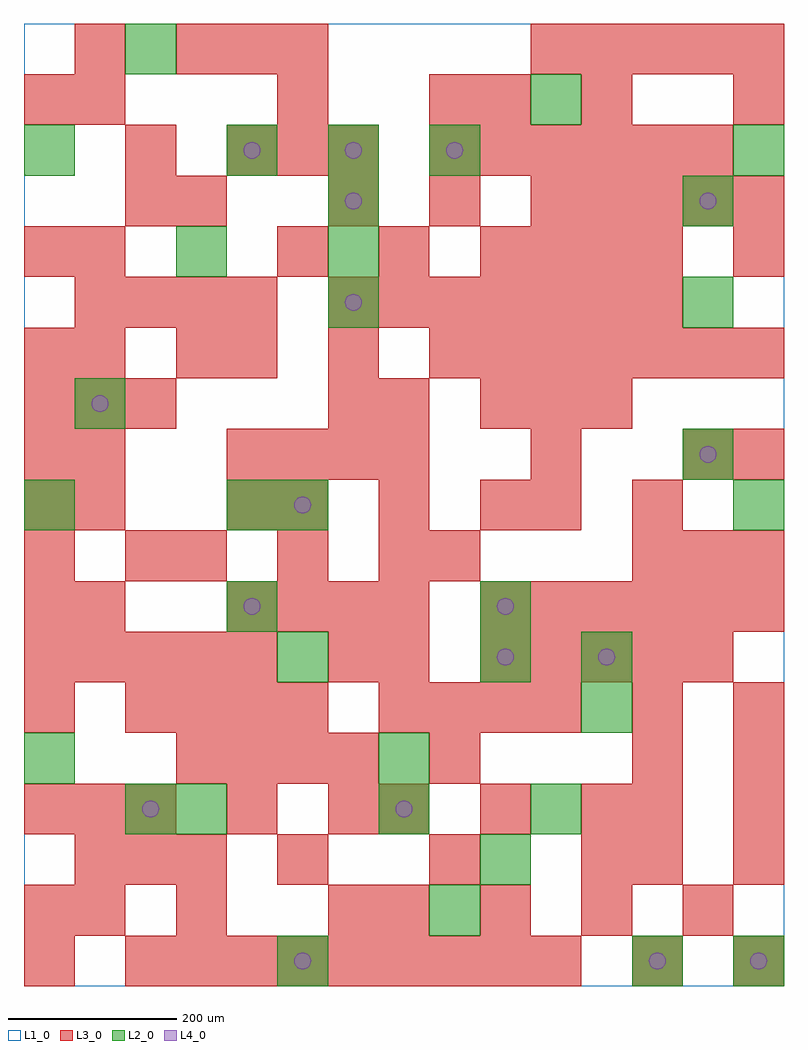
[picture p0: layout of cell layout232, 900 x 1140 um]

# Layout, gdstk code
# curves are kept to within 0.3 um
import gdstk
lib = gdstk.Library(unit=1e-6, precision=1e-09)
def R(c, l, rs):  # rectangles x0, y0, x1, y1
    for r in rs: c.add(gdstk.rectangle(r[:2], r[2:], *l))
def A(c, l, x, y, w, h, nx, ny, dx, dy):  # array of equal rectangles
    R(c, l, [(x+i*dx, y+j*dy, x+i*dx+w, y+j*dy+h) for i in range(nx) for j in range(ny)])
def P(c, l, *ps):  # polygons
    for p in ps: c.add(gdstk.Polygon(p, *l))
L1_0 = (1, 0)
L2_0 = (2, 0)
L3_0 = (3, 0)
L4_0 = (4, 0)

layout232 = lib.new_cell('layout232')
R(layout232, L1_0, [(0,0,900,1140)])
A(layout232, L2_0, 360, 780, 60, 60, 1, 3, 0, 60)
A(layout232, L2_0, 240, 960, 60, 60, 3, 1, 120, 0)
R(layout232, L2_0, [(300,0,360,60), (720,0,780,60), (840,0,900,60), (480,60,540,120), (540,120,600,180), (120,180,180,240), (180,180,240,240), (420,180,480,240), (600,180,660,240), (0,240,60,300), (420,240,480,300), (660,300,720,360), (300,360,360,420), (540,360,600,420), (660,360,720,420), (240,420,300,480), (540,420,600,480), (0,540,60,600), (240,540,300,600), (300,540,360,600), (840,540,900,600), (780,600,840,660), (60,660,120,720), (780,780,840,840), (180,840,240,900), (780,900,840,960), (0,960,60,1020), (840,960,900,1020), (600,1020,660,1080), (120,1080,180,1140)])
A(layout232, L3_0, 120, 0, 60, 60, 9, 1, 60, 0)
A(layout232, L3_0, 420, 60, 60, 60, 4, 1, 120, 0)
A(layout232, L3_0, 60, 120, 60, 60, 3, 1, 60, 0)
A(layout232, L3_0, 300, 120, 60, 60, 3, 1, 180, 0)
A(layout232, L3_0, 720, 120, 60, 60, 1, 4, 0, 60)
A(layout232, L3_0, 840, 120, 60, 60, 1, 4, 0, 60)
A(layout232, L3_0, 0, 180, 60, 60, 3, 2, 60, 480)
A(layout232, L3_0, 420, 180, 60, 60, 3, 1, 120, 0)
A(layout232, L3_0, 180, 240, 60, 60, 4, 1, 60, 0)
A(layout232, L3_0, 120, 300, 60, 60, 4, 1, 60, 0)
A(layout232, L3_0, 420, 300, 60, 60, 4, 1, 60, 0)
A(layout232, L3_0, 0, 360, 60, 60, 5, 1, 60, 0)
A(layout232, L3_0, 540, 360, 60, 60, 5, 1, 60, 0)
A(layout232, L3_0, 0, 420, 60, 60, 1, 4, 0, 60)
A(layout232, L3_0, 240, 420, 60, 60, 4, 2, 60, 180)
A(layout232, L3_0, 540, 420, 60, 60, 6, 2, 60, 300)
A(layout232, L3_0, 180, 480, 60, 60, 3, 1, 120, 0)
A(layout232, L3_0, 720, 480, 60, 60, 3, 1, 60, 0)
A(layout232, L3_0, 300, 540, 60, 60, 3, 2, 120, 300)
A(layout232, L3_0, 60, 600, 60, 60, 1, 3, 0, 120)
A(layout232, L3_0, 540, 660, 60, 60, 3, 1, 60, 0)
A(layout232, L3_0, 240, 720, 60, 60, 3, 1, 120, 0)
A(layout232, L3_0, 60, 780, 60, 60, 4, 1, 60, 0)
A(layout232, L3_0, 360, 780, 60, 60, 7, 1, 60, 0)
A(layout232, L3_0, 600, 840, 60, 60, 3, 1, 60, 0)
A(layout232, L3_0, 360, 900, 60, 60, 3, 1, 120, 0)
A(layout232, L3_0, 660, 900, 60, 60, 4, 1, 60, 0)
A(layout232, L3_0, 240, 960, 60, 60, 3, 1, 60, 0)
A(layout232, L3_0, 480, 960, 60, 60, 6, 1, 60, 0)
A(layout232, L3_0, 180, 1080, 60, 60, 3, 1, 60, 0)
A(layout232, L3_0, 600, 1080, 60, 60, 5, 1, 60, 0)
R(layout232, L3_0, [(0,0,60,60), (720,0,780,60), (840,0,900,60), (0,60,60,120), (60,60,120,120), (180,60,240,120), (360,60,420,120), (240,180,300,240), (360,180,420,240), (480,240,540,300), (0,300,60,360), (360,360,420,420), (420,360,480,420), (60,420,120,480), (120,480,180,540), (480,480,540,540), (60,540,120,600), (240,540,300,600), (600,540,660,600), (720,540,780,600), (600,600,660,660), (780,600,840,660), (840,600,900,660), (360,660,420,720), (420,660,480,720), (0,720,60,780), (180,720,240,780), (0,840,60,900), (840,840,900,900), (120,900,180,960), (180,900,240,960), (120,960,180,1020), (0,1020,60,1080), (60,1020,120,1080), (300,1020,360,1080), (480,1020,540,1080), (540,1020,600,1080), (660,1020,720,1080), (840,1020,900,1080), (60,1080,120,1140)])
P(layout232, L4_0, [(100,690),(99.239,693.827),(97.071,697.071),(93.827,699.239),(90,700),(86.173,699.239),(82.929,697.071),(80.761,693.827),(80,690),(80.761,686.173),(82.929,682.929),(86.173,680.761),(90,680),(93.827,680.761),(97.071,682.929),(99.239,686.173)],
  [(160,210),(159.239,213.827),(157.071,217.071),(153.827,219.239),(150,220),(146.173,219.239),(142.929,217.071),(140.761,213.827),(140,210),(140.761,206.173),(142.929,202.929),(146.173,200.761),(150,200),(153.827,200.761),(157.071,202.929),(159.239,206.173)],
  [(280,450),(279.239,453.827),(277.071,457.071),(273.827,459.239),(270,460),(266.173,459.239),(262.929,457.071),(260.761,453.827),(260,450),(260.761,446.173),(262.929,442.929),(266.173,440.761),(270,440),(273.827,440.761),(277.071,442.929),(279.239,446.173)],
  [(280,990),(279.239,993.827),(277.071,997.071),(273.827,999.239),(270,1000),(266.173,999.239),(262.929,997.071),(260.761,993.827),(260,990),(260.761,986.173),(262.929,982.929),(266.173,980.761),(270,980),(273.827,980.761),(277.071,982.929),(279.239,986.173)],
  [(340,30),(339.239,33.827),(337.071,37.071),(333.827,39.239),(330,40),(326.173,39.239),(322.929,37.071),(320.761,33.827),(320,30),(320.761,26.173),(322.929,22.929),(326.173,20.761),(330,20),(333.827,20.761),(337.071,22.929),(339.239,26.173)],
  [(340,570),(339.239,573.827),(337.071,577.071),(333.827,579.239),(330,580),(326.173,579.239),(322.929,577.071),(320.761,573.827),(320,570),(320.761,566.173),(322.929,562.929),(326.173,560.761),(330,560),(333.827,560.761),(337.071,562.929),(339.239,566.173)],
  [(400,810),(399.239,813.827),(397.071,817.071),(393.827,819.239),(390,820),(386.173,819.239),(382.929,817.071),(380.761,813.827),(380,810),(380.761,806.173),(382.929,802.929),(386.173,800.761),(390,800),(393.827,800.761),(397.071,802.929),(399.239,806.173)],
  [(400,930),(399.239,933.827),(397.071,937.071),(393.827,939.239),(390,940),(386.173,939.239),(382.929,937.071),(380.761,933.827),(380,930),(380.761,926.173),(382.929,922.929),(386.173,920.761),(390,920),(393.827,920.761),(397.071,922.929),(399.239,926.173)],
  [(400,990),(399.239,993.827),(397.071,997.071),(393.827,999.239),(390,1000),(386.173,999.239),(382.929,997.071),(380.761,993.827),(380,990),(380.761,986.173),(382.929,982.929),(386.173,980.761),(390,980),(393.827,980.761),(397.071,982.929),(399.239,986.173)],
  [(460,210),(459.239,213.827),(457.071,217.071),(453.827,219.239),(450,220),(446.173,219.239),(442.929,217.071),(440.761,213.827),(440,210),(440.761,206.173),(442.929,202.929),(446.173,200.761),(450,200),(453.827,200.761),(457.071,202.929),(459.239,206.173)],
  [(520,990),(519.239,993.827),(517.071,997.071),(513.827,999.239),(510,1000),(506.173,999.239),(502.929,997.071),(500.761,993.827),(500,990),(500.761,986.173),(502.929,982.929),(506.173,980.761),(510,980),(513.827,980.761),(517.071,982.929),(519.239,986.173)],
  [(580,390),(579.239,393.827),(577.071,397.071),(573.827,399.239),(570,400),(566.173,399.239),(562.929,397.071),(560.761,393.827),(560,390),(560.761,386.173),(562.929,382.929),(566.173,380.761),(570,380),(573.827,380.761),(577.071,382.929),(579.239,386.173)],
  [(580,450),(579.239,453.827),(577.071,457.071),(573.827,459.239),(570,460),(566.173,459.239),(562.929,457.071),(560.761,453.827),(560,450),(560.761,446.173),(562.929,442.929),(566.173,440.761),(570,440),(573.827,440.761),(577.071,442.929),(579.239,446.173)],
  [(700,390),(699.239,393.827),(697.071,397.071),(693.827,399.239),(690,400),(686.173,399.239),(682.929,397.071),(680.761,393.827),(680,390),(680.761,386.173),(682.929,382.929),(686.173,380.761),(690,380),(693.827,380.761),(697.071,382.929),(699.239,386.173)],
  [(760,30),(759.239,33.827),(757.071,37.071),(753.827,39.239),(750,40),(746.173,39.239),(742.929,37.071),(740.761,33.827),(740,30),(740.761,26.173),(742.929,22.929),(746.173,20.761),(750,20),(753.827,20.761),(757.071,22.929),(759.239,26.173)],
  [(820,630),(819.239,633.827),(817.071,637.071),(813.827,639.239),(810,640),(806.173,639.239),(802.929,637.071),(800.761,633.827),(800,630),(800.761,626.173),(802.929,622.929),(806.173,620.761),(810,620),(813.827,620.761),(817.071,622.929),(819.239,626.173)],
  [(820,930),(819.239,933.827),(817.071,937.071),(813.827,939.239),(810,940),(806.173,939.239),(802.929,937.071),(800.761,933.827),(800,930),(800.761,926.173),(802.929,922.929),(806.173,920.761),(810,920),(813.827,920.761),(817.071,922.929),(819.239,926.173)],
  [(880,30),(879.239,33.827),(877.071,37.071),(873.827,39.239),(870,40),(866.173,39.239),(862.929,37.071),(860.761,33.827),(860,30),(860.761,26.173),(862.929,22.929),(866.173,20.761),(870,20),(873.827,20.761),(877.071,22.929),(879.239,26.173)])

lib.write_gds('layout232.gds')
